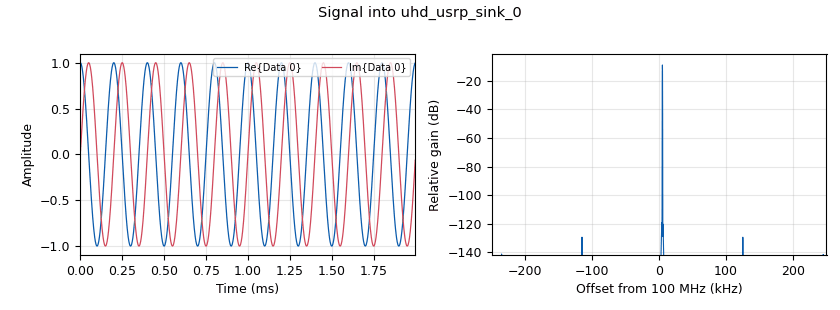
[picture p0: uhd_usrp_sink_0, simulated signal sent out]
options:
  parameters:
    author: derplime
    generate_options: qt_gui
    id: rf_flowgraph_1
    output_language: python
    title: Loopback Test 1
  states: {}

blocks:
- name: signal_src_freq
  id: variable_qtgui_range
  parameters:
    start: '0'
    step: '1000'
    stop: '500000'
    value: '10000'
  states: {}
- name: signal_src_samp_rate
  id: variable_qtgui_range
  parameters:
    start: '1000'
    step: '1000'
    stop: '1000000'
    value: '1000000'
  states: {}
- name: uhd_bw
  id: variable_qtgui_range
  parameters:
    start: '1000'
    step: '10000'
    stop: '56000000'
    value: '1000000'
  states: {}
- name: uhd_center_freq
  id: variable_qtgui_range
  parameters:
    start: '70000000'
    step: '1000000'
    stop: '6000000000'
    value: '100000000'
  states: {}
- name: uhd_gain
  id: variable_qtgui_range
  parameters:
    start: '0'
    step: '1'
    stop: '90'
    value: '1'
  states: {}
- name: uhd_sample_rate
  id: variable_qtgui_range
  parameters:
    start: '32000'
    step: '10000'
    stop: '56000000'
    value: '500000'
  states: {}
- name: analog_sig_source_x_0
  id: analog_sig_source_x
  parameters:
    amp: '1'
    freq: signal_src_freq
    offset: '0'
    phase: '0'
    samp_rate: signal_src_samp_rate
    showports: 'True'
    type: complex
    waveform: analog.GR_COS_WAVE
  states: {}
- name: blocks_file_sink_0
  id: blocks_file_sink
  parameters:
    file: rf_flowgraph_1
    type: complex
  states: {}
- name: note_0
  id: note
  parameters:
    note: Use lower than 1M sample rate with N200
  states: {}
- name: note_1
  id: note
  parameters:
    note: There is a TCP Sink Block to potentially send stream over TCP.
  states: {}
- name: uhd_usrp_sink_0
  id: uhd_usrp_sink
  parameters:
    ant0: '"TX/RX"'
    bw0: uhd_bw
    center_freq0: uhd_center_freq
    dev_addr: '"addr=192.168.10.2"'
    dev_args: '""'
    gain0: uhd_gain
    samp_rate: uhd_sample_rate
    sync: sync
    type: fc32
  states: {}
- name: uhd_usrp_source_0
  id: uhd_usrp_source
  parameters:
    ant0: '"RX2"'
    bw0: uhd_bw
    center_freq0: uhd_center_freq
    dev_addr: '"addr=192.168.10.2"'
    dev_args: '""'
    gain0: uhd_gain
    samp_rate: uhd_sample_rate
    sync: sync
    type: fc32
  states: {}

connections:
- [analog_sig_source_x_0, '0', uhd_usrp_sink_0, '0']
- [uhd_usrp_source_0, '0', blocks_file_sink_0, '0']

metadata:
  file_format: 1
  grc_version: 3.10.7.0
